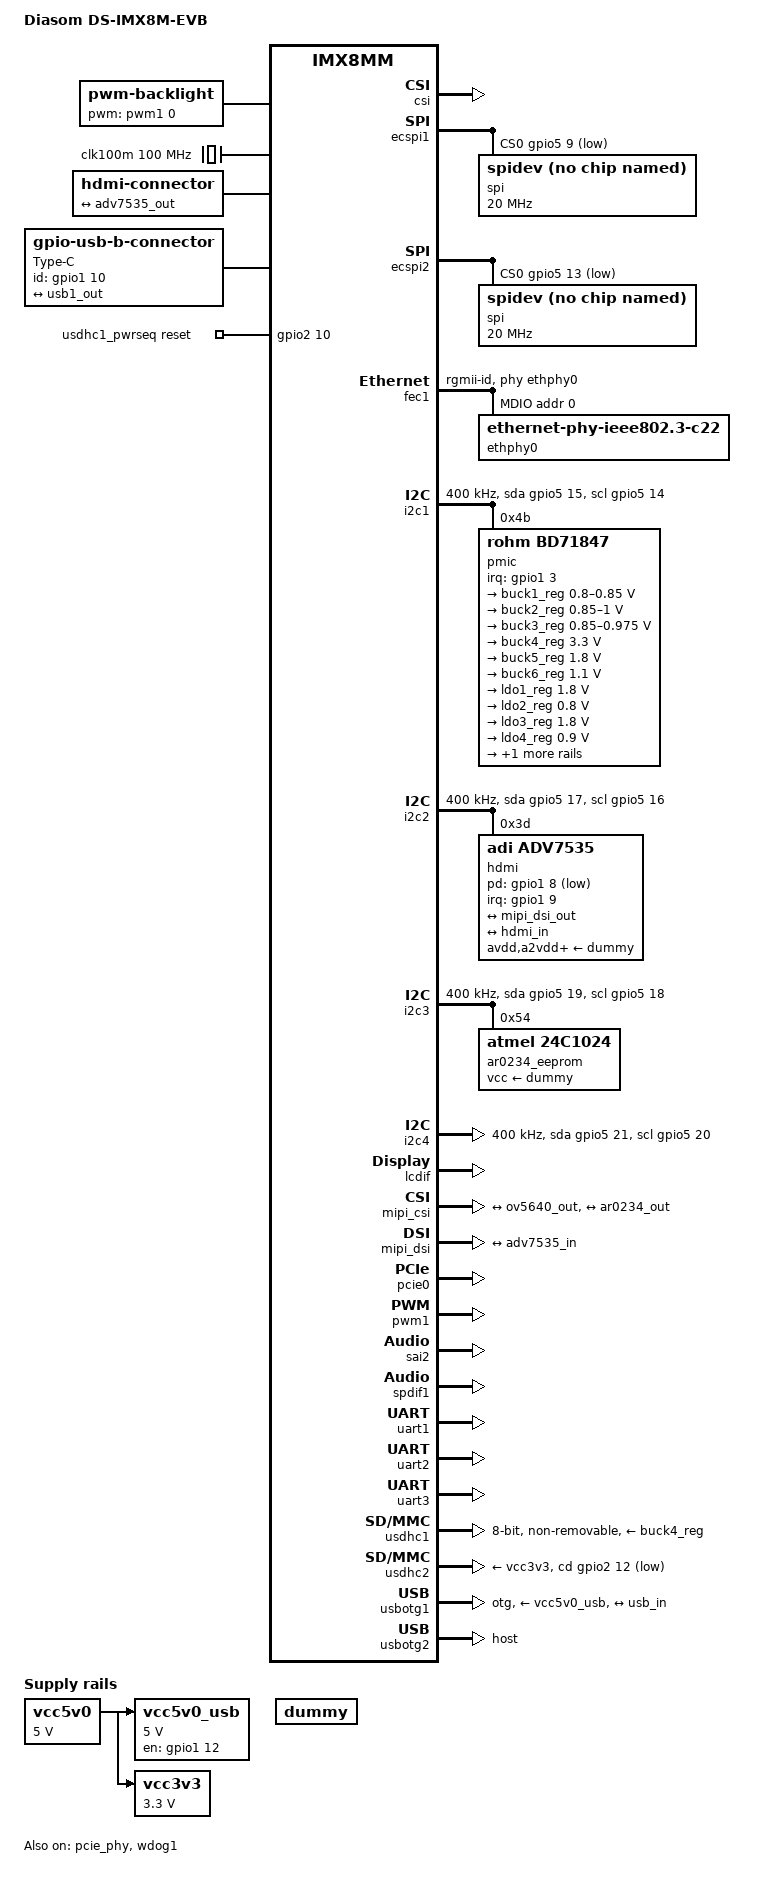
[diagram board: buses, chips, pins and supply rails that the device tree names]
/* SPDX-License-Identifier: GPL-2.0+ */
/* SPDX-FileCopyrightText: Alexander Shiyan <shc_work@mail.ru> */

/dts-v1/;

#include <arm64/freescale/imx8mm.dtsi>
#include <dt-bindings/net/ti-dp83867.h>
#include <dt-bindings/phy/phy-imx8-pcie.h>

#include "imx8mm.dtsi"

/ {
	model = "Diasom DS-IMX8M-EVB";
	compatible = "diasom,ds-imx8m-evb", "fsl,imx8mm";
	chassis-type = "embedded";

	chosen {
		stdout-path = "serial1:115200n8";

		environment-emmc {
			compatible = "barebox,environment";
			device-path = &usdhc1, "partname:env";
			status = "disabled";
		};

		environment-sd {
			compatible = "barebox,environment";
			device-path = &usdhc2, "partname:env";
			status = "disabled";
		};
	};

	aliases {
		camera0 = &ov5640;
		camera1 = &ar0234;
	};

	backlight {
		compatible = "pwm-backlight";
		pwms = <&pwm1 0 5000000 0>;
		brightness-levels = <0 255>;
		num-interpolated-steps = <255>;
		default-brightness-level = <250>;
	};

	clk100m: clk-100m {
		compatible = "fixed-clock";
		clock-frequency = <100000000>;
		#clock-cells = <0>;
	};

	hdmi-connector {
		compatible = "hdmi-connector";
		label = "HDMI";
		type = "a";

		port {
			hdmi_in: endpoint {
				remote-endpoint = <&adv7535_out>;
			};
		};
	};

	usb-connector {
		pinctrl-names = "default";
		pinctrl-0 = <&pinctrl_usbconn>;
		compatible = "gpio-usb-b-connector", "usb-b-connector";
		label = "Type-C";
		type = "micro";
		id-gpios = <&gpio1 10 GPIO_ACTIVE_HIGH>;

		ports {
			#address-cells = <1>;
			#size-cells = <0>;

			port@0 {
				reg = <0>;

				usb_in: endpoint {
					remote-endpoint = <&usb1_out>;
				};
			};
		};
	};

	spdif_sound: spdif-sound {
		compatible = "fsl,imx-audio-spdif";
		model = "SPDIF";
		spdif-controller = <&spdif1>;
		spdif-in;
		spdif-out;
	};

	usdhc1_pwrseq: usdhc1-pwrseq {
		pinctrl-names = "default";
		pinctrl-0 = <&pinctrl_usdhc1_pwrseq>;
		compatible = "mmc-pwrseq-emmc";
		reset-gpios = <&gpio2 10 GPIO_ACTIVE_HIGH>;
	};

	vcc5v0: vcc5v0-regulator {
		compatible = "regulator-fixed";
		regulator-name = "5v0";
		regulator-min-microvolt = <5000000>;
		regulator-max-microvolt = <5000000>;
	};

	vcc5v0_usb: vcc5v0-usb-regulator {
		pinctrl-names = "default";
		pinctrl-0 = <&pinctrl_reg_usb>;
		compatible = "regulator-fixed";
		regulator-name = "5v0_usb";
		regulator-min-microvolt = <5000000>;
		regulator-max-microvolt = <5000000>;
		gpio = <&gpio1 12 GPIO_ACTIVE_HIGH>;
		enable-active-high;
		vin-supply = <&vcc5v0>;
	};

	vcc3v3: vcc3v3-regulator {
		compatible = "regulator-fixed";
		regulator-name = "3v3";
		regulator-min-microvolt = <3300000>;
		regulator-max-microvolt = <3300000>;
		vin-supply = <&vcc5v0>;
	};

	dummy: dummy-regulator {
		compatible = "regulator-fixed";
		regulator-name = "dummy";
	};
};

&A53_0 {
	cpu-supply = <&buck2_reg>;
};

&A53_1 {
	cpu-supply = <&buck2_reg>;
};

&A53_2 {
	cpu-supply = <&buck2_reg>;
};

&A53_3 {
	cpu-supply = <&buck2_reg>;
};

&csi {
	status = "okay";
};

&ddrc {
	operating-points-v2 = <&ddrc_opp_table>;

	ddrc_opp_table: opp-table {
		compatible = "operating-points-v2";

		opp-750000000 {
			opp-hz = /bits/ 64 <750000000>;
		};
	};
};

&ecspi1 {
	pinctrl-names = "default";
	pinctrl-0 = <&pinctrl_ecspi1>;
	cs-gpios = <&gpio5 9 GPIO_ACTIVE_LOW>;
	status = "okay";

	spi@0 {
		compatible = "rohm,dh2228fv";
		reg = <0>;
		spi-max-frequency = <20000000>;
	};
};

&ecspi2 {
	pinctrl-names = "default";
	pinctrl-0 = <&pinctrl_ecspi2>;
	cs-gpios = <&gpio5 13 GPIO_ACTIVE_LOW>;
	status = "okay";

	spi@0 {
		compatible = "rohm,dh2228fv";
		reg = <0>;
		spi-max-frequency = <20000000>;
	};
};

&fec1 {
	pinctrl-names = "default";
	pinctrl-0 = <&pinctrl_fec1>;
	phy-mode = "rgmii-id";
	phy-handle = <&ethphy0>;
	fsl,magic-packet;
	status = "okay";

	mdio {
		#address-cells = <1>;
		#size-cells = <0>;

		ethphy0: phy@0 {
			compatible = "ethernet-phy-ieee802.3-c22";
			reg = <0>;
			ti,rx-internal-delay = <DP83867_RGMIIDCTL_2_00_NS>;
			ti,tx-internal-delay = <DP83867_RGMIIDCTL_2_00_NS>;
		};
	};
};

&i2c1 {
	pinctrl-names = "default", "gpio";
	pinctrl-0 = <&pinctrl_i2c1>;
	pinctrl-1 = <&pinctrl_i2c1_gpio>;
	scl-gpios = <&gpio5 14 (GPIO_ACTIVE_HIGH | GPIO_OPEN_DRAIN)>;
	sda-gpios = <&gpio5 15 (GPIO_ACTIVE_HIGH | GPIO_OPEN_DRAIN)>;
	clock-frequency = <400000>;
	status = "okay";

	pmic@4b {
		pinctrl-names = "default";
		pinctrl-0 = <&pinctrl_pmic>;
		compatible = "rohm,bd71847";
		reg = <0x4b>;
		interrupt-parent = <&gpio1>;
		interrupts = <3 IRQ_TYPE_LEVEL_LOW>;
		rohm,reset-snvs-powered;

		regulators {
			/* 0.8V_VDD_SOC */
			buck1_reg: BUCK1 {
				regulator-name = "buck1";
				regulator-min-microvolt = <800000>;
				regulator-max-microvolt = <850000>;
				regulator-boot-on;
				regulator-always-on;
				regulator-ramp-delay = <1250>;
			};

			/* 0.9V_VDD_ARM */
			buck2_reg: BUCK2 {
				regulator-name = "buck2";
				regulator-min-microvolt = <850000>;
				regulator-max-microvolt = <1000000>;
				regulator-boot-on;
				regulator-always-on;
				regulator-ramp-delay = <1250>;
				rohm,dvs-run-voltage = <1000000>;
				rohm,dvs-idle-voltage = <900000>;
			};

			/* 0.9V_VPU_GPU */
			buck3_reg: BUCK3 {
				// BUCK5 in datasheet
				regulator-name = "buck3";
				regulator-min-microvolt = <850000>;
				regulator-max-microvolt = <975000>;
				regulator-boot-on;
				regulator-always-on;
			};

			/* 3.3V */
			buck4_reg: BUCK4 {
				// BUCK6 in datasheet
				regulator-name = "buck4";
				regulator-min-microvolt = <3300000>;
				regulator-max-microvolt = <3300000>;
				regulator-boot-on;
				regulator-always-on;
			};

			/* 1.8V */
			buck5_reg: BUCK5 {
				// BUCK7 in datasheet
				regulator-name = "buck5";
				regulator-min-microvolt = <1800000>;
				regulator-max-microvolt = <1800000>;
				regulator-boot-on;
				regulator-always-on;
			};

			/* 1.1V_LPDDR4 */
			buck6_reg: BUCK6 {
				// BUCK8 in datasheet
				regulator-name = "buck6";
				regulator-min-microvolt = <1100000>;
				regulator-max-microvolt = <1100000>;
				regulator-boot-on;
				regulator-always-on;
			};

			/* 1.8V_NVCC_SNVC */
			ldo1_reg: LDO1 {
				regulator-name = "ldo1";
				regulator-min-microvolt = <1800000>;
				regulator-max-microvolt = <1800000>;
				regulator-boot-on;
				regulator-always-on;
			};

			/* 0.8V_VDD_SNVC */
			ldo2_reg: LDO2 {
				regulator-name = "ldo2";
				regulator-min-microvolt = <800000>;
				regulator-max-microvolt = <800000>;
				regulator-boot-on;
				regulator-always-on;
			};

			/* 1.8V_VDDA */
			ldo3_reg: LDO3 {
				regulator-name = "ldo3";
				regulator-min-microvolt = <1800000>;
				regulator-max-microvolt = <1800000>;
				regulator-boot-on;
				regulator-always-on;
			};

			/* 0.9V_VDD_PHY */
			ldo4_reg: LDO4 {
				regulator-name = "ldo4";
				regulator-min-microvolt = <900000>;
				regulator-max-microvolt = <900000>;
				regulator-boot-on;
				regulator-always-on;
			};

			/* 1.2V_VDD_PHY */
			ldo6_reg: LDO6 {
				regulator-name = "ldo6";
				regulator-min-microvolt = <1200000>;
				regulator-max-microvolt = <1200000>;
				regulator-boot-on;
				regulator-always-on;
			};
		};
	};
};

&i2c2 {
	pinctrl-names = "default", "gpio";
	pinctrl-0 = <&pinctrl_i2c2>;
	pinctrl-1 = <&pinctrl_i2c2_gpio>;
	scl-gpios = <&gpio5 16 (GPIO_ACTIVE_HIGH | GPIO_OPEN_DRAIN)>;
	sda-gpios = <&gpio5 17 (GPIO_ACTIVE_HIGH | GPIO_OPEN_DRAIN)>;
	clock-frequency = <400000>;
	status = "okay";

	hdmi@3d {
		pinctrl-names = "default";
		pinctrl-0 = <&pinctrl_adv7535>;
		compatible = "adi,adv7535";
		reg = <0x3d>, <0x3e>, <0x3c>, <0x3f>;
		reg-names = "main", "edid", "cec", "packet";
		adi,dsi-lanes = <4>;
		adi,input-depth = <8>;
		adi,input-colorspace = "rgb";
		adi,input-clock = "1x";
		adi,input-style = <1>;
		adi,input-justification = "evenly";
		interrupt-parent = <&gpio1>;
		interrupts = <9 IRQ_TYPE_LEVEL_LOW>;
		pd-gpios = <&gpio1 8 GPIO_ACTIVE_LOW>;
		avdd-supply = <&dummy>;
		a2vdd-supply = <&dummy>;
		dvdd-supply = <&dummy>;
		pvdd-supply = <&dummy>;
		v1p2-supply = <&dummy>;
		v3p3-supply = <&dummy>;

		ports {
			#address-cells = <1>;
			#size-cells = <0>;

			port@0 {
				reg = <0>;

				adv7535_in: endpoint {
					remote-endpoint = <&mipi_dsi_out>;
				};
			};

			port@1 {
				reg = <1>;

				adv7535_out: endpoint {
					remote-endpoint = <&hdmi_in>;
				};
			};
		};
	};
};

&i2c3 {
	pinctrl-names = "default", "gpio";
	pinctrl-0 = <&pinctrl_i2c3>;
	pinctrl-1 = <&pinctrl_i2c3_gpio>;
	scl-gpios = <&gpio5 18 (GPIO_ACTIVE_HIGH | GPIO_OPEN_DRAIN)>;
	sda-gpios = <&gpio5 19 (GPIO_ACTIVE_HIGH | GPIO_OPEN_DRAIN)>;
	clock-frequency = <400000>;
	status = "okay";

	ov5640: camera@3c {
		pinctrl-names = "default";
		pinctrl-0 = <&pinctrl_ov5640>;
		compatible = "ovti,ov5640";
		reg = <0x3c>;
		clocks = <&clk IMX8MM_CLK_CLKO1>;
		clock-names = "xclk";
		assigned-clocks = <&clk IMX8MM_CLK_CLKO1>;
		assigned-clock-parents = <&clk IMX8MM_CLK_24M>;
		assigned-clock-rates = <24000000>;
		powerdown-gpios = <&gpio1 7 GPIO_ACTIVE_HIGH>;
		reset-gpios = <&gpio1 6 GPIO_ACTIVE_LOW>;
		AVDD-supply = <&dummy>;
		DVDD-supply = <&dummy>;
		DOVDD-supply = <&dummy>;
		status = "disabled";

		port {
			ov5640_out: endpoint {
				remote-endpoint = <&ov5640_in>;
				data-lanes = <1 2>;
			};
		};
	};

	/*
	   GPIO1_IO14 is connected to pin 33 of the 70-pin camera connector.
	   This pin is not documented in the TEVI-AR0234 datasheet,
	   and seems floated unused.
	*/
	ar0234: camera@3d {
		pinctrl-names = "default";
		pinctrl-0 = <&pinctrl_ar0234>;
		compatible = "onnn,ap1302";
		reg = <0x3d>;
		reset-gpios = <&gpio1 6 GPIO_ACTIVE_LOW>;
		standby-gpios = <&gpio1 7 GPIO_ACTIVE_HIGH>;
		nvmem = <&ar0234_eeprom>;
		vcc-supply = <&dummy>;
		status = "disabled";

		port {
			ar0234_out: endpoint {
				remote-endpoint = <&ar0234_in>;
				data-lanes = <1 2 3 4>;
				link-frequencies = /bits/ 64 <816000000>;
			};
		};

		sensors {
			sensor,model = "ar0234";
			sensor,resolution = <1920 1080>;
			sensor,format = <0x200f>; /* MEDIA_BUS_FMT_UYVY8_1X16 */

			#address-cells = <1>;
			#size-cells = <0>;

			sensor@0 {
				reg = <0>;
				sip = <0>;
				status = "immutable";
			};
		};
	};

	ar0234_eeprom: eeprom@54 {
		compatible = "atmel,24c1024";
		reg = <0x54>;
		read-only;
		vcc-supply = <&dummy>;
	};
};

&i2c4 {
	pinctrl-names = "default", "gpio";
	pinctrl-0 = <&pinctrl_i2c4>;
	pinctrl-1 = <&pinctrl_i2c4_gpio>;
	scl-gpios = <&gpio5 20 (GPIO_ACTIVE_HIGH | GPIO_OPEN_DRAIN)>;
	sda-gpios = <&gpio5 21 (GPIO_ACTIVE_HIGH | GPIO_OPEN_DRAIN)>;
	clock-frequency = <400000>;
	status = "okay";
};

&lcdif {
	status = "okay";
};

&mipi_csi {
	status = "okay";

	ports {
		port@0 {
			#address-cells = <1>;
			#size-cells = <0>;

			ov5640_in: endpoint@0 {
				reg = <0>;
				remote-endpoint = <&ov5640_out>;
				data-lanes = <1 2>;
			};

			ar0234_in: endpoint@1 {
				reg = <1>;
				remote-endpoint = <&ar0234_out>;
				data-lanes = <1 2 3 4>;
			};
		};
	};
};

&mipi_dsi {
	samsung,esc-clock-frequency = <10000000>;
	vddcore-supply = <&dummy>;
	vddio-supply = <&dummy>;
	status = "okay";

	ports {
		port@1 {
			reg = <1>;

			mipi_dsi_out: endpoint {
				remote-endpoint = <&adv7535_in>;
				data-lanes = <1 2 3 4>;
			};
		};
	};
};

&ocotp {
	barebox,provide-mac-address = <&fec1 0x640>;
};

&pcie_phy {
	fsl,clkreq-unsupported;
	fsl,refclk-pad-mode = <IMX8_PCIE_REFCLK_PAD_INPUT>;
	fsl,tx-deemph-gen1 = <0x2d>;
	fsl,tx-deemph-gen2 = <0xf>;
	clocks = <&clk100m>;
	status = "okay";
};

&pcie0 {
	clocks = <&clk IMX8MM_CLK_PCIE1_ROOT>, <&clk100m>,
		 <&clk IMX8MM_CLK_PCIE1_AUX>;
	assigned-clocks = <&clk IMX8MM_CLK_PCIE1_AUX>,
			  <&clk IMX8MM_CLK_PCIE1_CTRL>;
	assigned-clock-rates = <10000000>, <250000000>;
	assigned-clock-parents = <&clk IMX8MM_SYS_PLL2_50M>,
				 <&clk IMX8MM_SYS_PLL2_250M>;
	vpcie-supply = <&vcc3v3>;
	status = "okay";
};

&pwm1 {
	pinctrl-names = "default";
	pinctrl-0 = <&pinctrl_pwm>;
	status = "okay";
};

&sai2 {
	pinctrl-names = "default";
	pinctrl-0 = <&pinctrl_sai2>;
	assigned-clocks = <&clk IMX8MM_CLK_SAI2>;
	assigned-clock-parents = <&clk IMX8MM_AUDIO_PLL1_OUT>;
	assigned-clock-rates = <12000000>;
	status = "okay";

	#sound-dai-cells = <0>;
};

&spdif1 {
	pinctrl-names = "default";
	pinctrl-0 = <&pinctrl_spdif1>;
	status = "okay";
};

&uart1 {
	pinctrl-names = "default";
	pinctrl-0 = <&pinctrl_uart1>;
	status = "okay";
};

&uart2 {
	pinctrl-names = "default";
	pinctrl-0 = <&pinctrl_uart2>;
	status = "okay";
	wakeup-source;
};

&uart3 {
	pinctrl-names = "default";
	pinctrl-0 = <&pinctrl_uart3>;
	status = "okay";
};

&uart4 {
	/* UART4 is routed to M4 via TF-A */
	pinctrl-names = "default";
	pinctrl-0 = <&pinctrl_uart4>;
	status = "reserved";
};

/* eMMC */
&usdhc1 {
	pinctrl-names = "default", "state_100mhz", "state_200mhz";
	pinctrl-0 = <&pinctrl_usdhc1>;
	pinctrl-1 = <&pinctrl_usdhc1_100mhz>;
	pinctrl-2 = <&pinctrl_usdhc1_200mhz>;
	bus-width = <8>;
	disable-wp;
	keep-power-in-suspend;
	mmc-pwrseq = <&usdhc1_pwrseq>;
	non-removable;
	vmmc-supply = <&buck4_reg>;
	vqmmc-supply = <&buck5_reg>;
	status = "okay";
};

/* uSD */
&usdhc2 {
	pinctrl-names = "default", "state_100mhz", "state_200mhz";
	pinctrl-0 = <&pinctrl_usdhc2>;
	pinctrl-1 = <&pinctrl_usdhc2_100mhz>;
	pinctrl-2 = <&pinctrl_usdhc2_200mhz>;
	assigned-clocks = <&clk IMX8MM_CLK_USDHC2>;
	assigned-clock-rates = <400000000>;
	assigned-clock-parents = <&clk IMX8MM_SYS_PLL1_400M>;
	cd-gpios = <&gpio2 12 GPIO_ACTIVE_LOW>;
	disable-wp;
	no-1-8-v;
	no-mmc;
	no-sdio;
	sd-uhs-ddr50;
	sd-uhs-sdr12;
	sd-uhs-sdr25;
	sd-uhs-sdr50;
	sd-uhs-sdr104;
	vmmc-supply = <&vcc3v3>;
	status = "okay";
};

&usbphynop1 {
	wakeup-source;
};

/* USB1-OTG */
&usbotg1 {
	dr_mode = "otg";
	disable-over-current;
	hnp-disable;
	srp-disable;
	samsung,picophy-pre-emp-curr-control = <3>;
	samsung,picophy-dc-vol-level-adjust = <7>;
	usb-role-switch;
	vbus-supply = <&vcc5v0_usb>;
	status = "okay";

	port {
		usb1_out: endpoint {
			remote-endpoint = <&usb_in>;
		};
	};
};

/* USB2-Host */
&usbotg2 {
	dr_mode = "host";
	disable-over-current;
	samsung,picophy-pre-emp-curr-control = <3>;
	samsung,picophy-dc-vol-level-adjust = <7>;
	status = "okay";
};

&wdog1 {
	pinctrl-names = "default";
	pinctrl-0 = <&pinctrl_wdog>;
	fsl,ext-reset-output;
	status = "okay";
};

&iomuxc {
	pinctrl-names = "default";
	pinctrl-0 = <&pinctrl_esp32 &pinctrl_gpios>;

	pinctrl_adv7535: adv7535-grp {
		fsl,pins = <
			MX8MM_IOMUXC_GPIO1_IO08_GPIO1_IO8		0x19
			MX8MM_IOMUXC_GPIO1_IO09_GPIO1_IO9		0x141
		>;
	};

	pinctrl_ar0234: ar0234-grp {
		fsl,pins = <
			MX8MM_IOMUXC_GPIO1_IO06_GPIO1_IO6		0x19
			MX8MM_IOMUXC_GPIO1_IO07_GPIO1_IO7		0x19
			MX8MM_IOMUXC_GPIO1_IO14_GPIO1_IO14		0x19
		>;
	};

	pinctrl_ecspi1: ecspi1-grp {
		fsl,pins = <
			MX8MM_IOMUXC_ECSPI1_SCLK_ECSPI1_SCLK		0x44
			MX8MM_IOMUXC_ECSPI1_MOSI_ECSPI1_MOSI		0x44
			MX8MM_IOMUXC_ECSPI1_MISO_ECSPI1_MISO		0x44
			MX8MM_IOMUXC_ECSPI1_SS0_GPIO5_IO9		0x40
		>;
	};

	pinctrl_ecspi2: ecspi2-grp {
		fsl,pins = <
			MX8MM_IOMUXC_ECSPI2_SCLK_ECSPI2_SCLK		0x44
			MX8MM_IOMUXC_ECSPI2_MOSI_ECSPI2_MOSI		0x44
			MX8MM_IOMUXC_ECSPI2_MISO_ECSPI2_MISO		0x44
			MX8MM_IOMUXC_ECSPI2_SS0_GPIO5_IO13		0x40
		>;
	};

	pinctrl_esp32: esp32-grp {
		fsl,pins = <
			MX8MM_IOMUXC_SAI3_RXFS_GPIO4_IO28		0x19	/* WIFI_STRAP_BOOT */
			MX8MM_IOMUXC_SAI3_TXFS_GPIO4_IO31		0x19	/* WIFI_POWER_UP */
		>;
	};

	pinctrl_fec1: fec1-grp {
		fsl,pins = <
			MX8MM_IOMUXC_ENET_MDC_ENET1_MDC			0x3
			MX8MM_IOMUXC_ENET_MDIO_ENET1_MDIO		0x3
			MX8MM_IOMUXC_ENET_TD3_ENET1_RGMII_TD3		0x1f
			MX8MM_IOMUXC_ENET_TD2_ENET1_RGMII_TD2		0x1f
			MX8MM_IOMUXC_ENET_TD1_ENET1_RGMII_TD1		0x1f
			MX8MM_IOMUXC_ENET_TD0_ENET1_RGMII_TD0		0x1f
			MX8MM_IOMUXC_ENET_RD3_ENET1_RGMII_RD3		0x91
			MX8MM_IOMUXC_ENET_RD2_ENET1_RGMII_RD2		0x91
			MX8MM_IOMUXC_ENET_RD1_ENET1_RGMII_RD1		0x91
			MX8MM_IOMUXC_ENET_RD0_ENET1_RGMII_RD0		0x91
			MX8MM_IOMUXC_ENET_TXC_ENET1_RGMII_TXC		0x1f
			MX8MM_IOMUXC_ENET_RXC_ENET1_RGMII_RXC		0x91
			MX8MM_IOMUXC_ENET_RX_CTL_ENET1_RGMII_RX_CTL	0x91
			MX8MM_IOMUXC_ENET_TX_CTL_ENET1_RGMII_TX_CTL	0x1f
		>;
	};

	pinctrl_gpios: gpios-grp {
		fsl,pins = <
			MX8MM_IOMUXC_GPIO1_IO00_GPIO1_IO0		0x19	/* X14.3 */
			MX8MM_IOMUXC_GPIO1_IO04_GPIO1_IO4		0x19	/* X14.6 */
			MX8MM_IOMUXC_GPIO1_IO05_GPIO1_IO5		0x19	/* X14.7 */
			MX8MM_IOMUXC_GPIO1_IO11_GPIO1_IO11		0x19	/* X14.13 */
			MX8MM_IOMUXC_GPIO1_IO13_GPIO1_IO13		0x19	/* X14.15 */
		>;
	};

	pinctrl_i2c1: i2c1-grp {
		fsl,pins = <
			MX8MM_IOMUXC_I2C1_SCL_I2C1_SCL			0x40000083
			MX8MM_IOMUXC_I2C1_SDA_I2C1_SDA			0x40000083
		>;
	};

	pinctrl_i2c1_gpio: i2c1-gpio-grp {
		fsl,pins = <
			MX8MM_IOMUXC_I2C1_SCL_GPIO5_IO14		0x40000083
			MX8MM_IOMUXC_I2C1_SDA_GPIO5_IO15		0x40000083
		>;
	};

	pinctrl_i2c2: i2c2-grp {
		fsl,pins = <
			MX8MM_IOMUXC_I2C2_SCL_I2C2_SCL			0x40000083
			MX8MM_IOMUXC_I2C2_SDA_I2C2_SDA			0x40000083
		>;
	};

	pinctrl_i2c2_gpio: i2c2-gpio-grp {
		fsl,pins = <
			MX8MM_IOMUXC_I2C2_SCL_GPIO5_IO16		0x40000083
			MX8MM_IOMUXC_I2C2_SDA_GPIO5_IO17		0x40000083
		>;
	};

	pinctrl_i2c3: i2c3-grp {
		fsl,pins = <
			MX8MM_IOMUXC_I2C3_SCL_I2C3_SCL			0x40000083
			MX8MM_IOMUXC_I2C3_SDA_I2C3_SDA			0x40000083
		>;
	};

	pinctrl_i2c3_gpio: i2c3-gpio-grp {
		fsl,pins = <
			MX8MM_IOMUXC_I2C3_SCL_GPIO5_IO18		0x40000083
			MX8MM_IOMUXC_I2C3_SDA_GPIO5_IO19		0x40000083
		>;
	};

	pinctrl_i2c4: i2c4-grp {
		fsl,pins = <
			MX8MM_IOMUXC_I2C4_SCL_I2C4_SCL			0x40000083
			MX8MM_IOMUXC_I2C4_SDA_I2C4_SDA			0x40000083
		>;
	};

	pinctrl_i2c4_gpio: i2c4-gpio-grp {
		fsl,pins = <
			MX8MM_IOMUXC_I2C4_SCL_GPIO5_IO20		0x40000083
			MX8MM_IOMUXC_I2C4_SDA_GPIO5_IO21		0x40000083
		>;
	};

	pinctrl_ov5640: ov5640-grp {
		fsl,pins = <
			MX8MM_IOMUXC_GPIO1_IO06_GPIO1_IO6		0x19
			MX8MM_IOMUXC_GPIO1_IO07_GPIO1_IO7		0x19
			MX8MM_IOMUXC_GPIO1_IO14_CCMSRCGPCMIX_CLKO1	0x59
		>;
	};

	pinctrl_pmic: pmic-grp {
		fsl,pins = <
			MX8MM_IOMUXC_GPIO1_IO03_GPIO1_IO3		0x141
		>;
	};

	pinctrl_pwm: pwm-grp {
		fsl,pins = <
			MX8MM_IOMUXC_GPIO1_IO01_PWM1_OUT		0x06
		>;
	};

	pinctrl_reg_usb: reg-usb-grp {
		fsl,pins = <
			MX8MM_IOMUXC_GPIO1_IO12_GPIO1_IO12		0x184
		>;
	};

	pinctrl_sai2: sai2-grp {
		fsl,pins = <
			MX8MM_IOMUXC_SAI2_MCLK_SAI2_MCLK		0xd6
			MX8MM_IOMUXC_SAI2_RXC_SAI2_RX_BCLK		0xd6
			MX8MM_IOMUXC_SAI2_RXD0_SAI2_RX_DATA0		0xd6
			MX8MM_IOMUXC_SAI2_RXFS_SAI2_RX_SYNC		0xd6
			MX8MM_IOMUXC_SAI2_TXC_SAI2_TX_BCLK		0xd6
			MX8MM_IOMUXC_SAI2_TXD0_SAI2_TX_DATA0		0xd6
			MX8MM_IOMUXC_SAI2_TXFS_SAI2_TX_SYNC		0xd6
		>;
	};

	pinctrl_spdif1: spdif1-grp {
		fsl,pins = <
			MX8MM_IOMUXC_SPDIF_TX_SPDIF1_OUT		0xd6
			MX8MM_IOMUXC_SPDIF_RX_SPDIF1_IN			0xd6
			MX8MM_IOMUXC_SPDIF_EXT_CLK_SPDIF1_EXT_CLK	0xd6
		>;
	};

	pinctrl_uart1: uart1-grp {
		fsl,pins = <
			MX8MM_IOMUXC_UART1_RXD_UART1_DCE_RX		0x0
			MX8MM_IOMUXC_UART1_TXD_UART1_DCE_TX		0x0
		>;
	};

	pinctrl_uart2: uart2-grp {
		fsl,pins = <
			MX8MM_IOMUXC_UART2_RXD_UART2_DCE_RX		0x0
			MX8MM_IOMUXC_UART2_TXD_UART2_DCE_TX		0x0
		>;
	};

	pinctrl_uart3: uart3-grp {
		fsl,pins = <
			MX8MM_IOMUXC_UART3_RXD_UART3_DCE_RX		0x0
			MX8MM_IOMUXC_UART3_TXD_UART3_DCE_TX		0x0
		>;
	};

	pinctrl_uart4: uart4-grp {
		fsl,pins = <
			MX8MM_IOMUXC_UART4_RXD_UART4_DCE_RX		0x0
			MX8MM_IOMUXC_UART4_TXD_UART4_DCE_TX		0x0
		>;
	};

	pinctrl_usbconn: usbconn-grp {
		fsl,pins = <
			MX8MM_IOMUXC_GPIO1_IO10_USB1_OTG_ID		0x400001c0
		>;
	};

	pinctrl_usdhc1: usdhc1-grp {
		fsl,pins = <
			MX8MM_IOMUXC_SD1_CLK_USDHC1_CLK			0x90
			MX8MM_IOMUXC_SD1_CMD_USDHC1_CMD			0x1d0
			MX8MM_IOMUXC_SD1_DATA0_USDHC1_DATA0		0x1d0
			MX8MM_IOMUXC_SD1_DATA1_USDHC1_DATA1		0x1d0
			MX8MM_IOMUXC_SD1_DATA2_USDHC1_DATA2		0x1d0
			MX8MM_IOMUXC_SD1_DATA3_USDHC1_DATA3		0x1d0
			MX8MM_IOMUXC_SD1_DATA4_USDHC1_DATA4		0x1d0
			MX8MM_IOMUXC_SD1_DATA5_USDHC1_DATA5		0x1d0
			MX8MM_IOMUXC_SD1_DATA6_USDHC1_DATA6		0x1d0
			MX8MM_IOMUXC_SD1_DATA7_USDHC1_DATA7		0x1d0
			MX8MM_IOMUXC_SD1_STROBE_USDHC1_STROBE		0x190
		>;
	};

	pinctrl_usdhc1_100mhz: usdhc1-100-grp {
		fsl,pins = <
			MX8MM_IOMUXC_SD1_CLK_USDHC1_CLK			0x94
			MX8MM_IOMUXC_SD1_CMD_USDHC1_CMD			0x1d4
			MX8MM_IOMUXC_SD1_DATA0_USDHC1_DATA0		0x1d4
			MX8MM_IOMUXC_SD1_DATA1_USDHC1_DATA1		0x1d4
			MX8MM_IOMUXC_SD1_DATA2_USDHC1_DATA2		0x1d4
			MX8MM_IOMUXC_SD1_DATA3_USDHC1_DATA3		0x1d4
			MX8MM_IOMUXC_SD1_DATA4_USDHC1_DATA4		0x1d4
			MX8MM_IOMUXC_SD1_DATA5_USDHC1_DATA5		0x1d4
			MX8MM_IOMUXC_SD1_DATA6_USDHC1_DATA6		0x1d4
			MX8MM_IOMUXC_SD1_DATA7_USDHC1_DATA7		0x1d4
			MX8MM_IOMUXC_SD1_STROBE_USDHC1_STROBE		0x194
		>;
	};

	pinctrl_usdhc1_200mhz: usdhc1-200-grp {
		fsl,pins = <
			MX8MM_IOMUXC_SD1_CLK_USDHC1_CLK			0x196
			MX8MM_IOMUXC_SD1_CMD_USDHC1_CMD			0x1d6
			MX8MM_IOMUXC_SD1_DATA0_USDHC1_DATA0		0x1d6
			MX8MM_IOMUXC_SD1_DATA1_USDHC1_DATA1		0x1d6
			MX8MM_IOMUXC_SD1_DATA2_USDHC1_DATA2		0x1d6
			MX8MM_IOMUXC_SD1_DATA3_USDHC1_DATA3		0x1d6
			MX8MM_IOMUXC_SD1_DATA4_USDHC1_DATA4		0x1d6
			MX8MM_IOMUXC_SD1_DATA5_USDHC1_DATA5		0x1d6
			MX8MM_IOMUXC_SD1_DATA6_USDHC1_DATA6		0x1d6
			MX8MM_IOMUXC_SD1_DATA7_USDHC1_DATA7		0x1d6
			MX8MM_IOMUXC_SD1_STROBE_USDHC1_STROBE		0x196
		>;
	};

	pinctrl_usdhc1_pwrseq: usdhc1-pwrseq-grp {
		fsl,pins = <
			MX8MM_IOMUXC_SD1_RESET_B_GPIO2_IO10		0x41
		>;
	};

	pinctrl_usdhc2: usdhc2-grp {
		fsl,pins = <
			MX8MM_IOMUXC_SD2_CLK_USDHC2_CLK			0x190
			MX8MM_IOMUXC_SD2_CMD_USDHC2_CMD			0x1d0
			MX8MM_IOMUXC_SD2_DATA0_USDHC2_DATA0		0x1d0
			MX8MM_IOMUXC_SD2_DATA1_USDHC2_DATA1		0x1d0
			MX8MM_IOMUXC_SD2_DATA2_USDHC2_DATA2		0x1d0
			MX8MM_IOMUXC_SD2_DATA3_USDHC2_DATA3		0x1d0
			MX8MM_IOMUXC_SD2_CD_B_GPIO2_IO12		0x1c4
		>;
	};

	pinctrl_usdhc2_100mhz: usdhc2-100-grp {
		fsl,pins = <
			MX8MM_IOMUXC_SD2_CLK_USDHC2_CLK			0x194
			MX8MM_IOMUXC_SD2_CMD_USDHC2_CMD			0x1d4
			MX8MM_IOMUXC_SD2_DATA0_USDHC2_DATA0		0x1d4
			MX8MM_IOMUXC_SD2_DATA1_USDHC2_DATA1		0x1d4
			MX8MM_IOMUXC_SD2_DATA2_USDHC2_DATA2		0x1d4
			MX8MM_IOMUXC_SD2_DATA3_USDHC2_DATA3		0x1d4
			MX8MM_IOMUXC_SD2_CD_B_GPIO2_IO12		0x1c4
		>;
	};

	pinctrl_usdhc2_200mhz: usdhc2-200-grp {
		fsl,pins = <
			MX8MM_IOMUXC_SD2_CLK_USDHC2_CLK			0x196
			MX8MM_IOMUXC_SD2_CMD_USDHC2_CMD			0x1d6
			MX8MM_IOMUXC_SD2_DATA0_USDHC2_DATA0		0x1d6
			MX8MM_IOMUXC_SD2_DATA1_USDHC2_DATA1		0x1d6
			MX8MM_IOMUXC_SD2_DATA2_USDHC2_DATA2		0x1d6
			MX8MM_IOMUXC_SD2_DATA3_USDHC2_DATA3		0x1d6
			MX8MM_IOMUXC_SD2_CD_B_GPIO2_IO12		0x1c4
		>;
	};

	pinctrl_wdog: wdog-grp {
		fsl,pins = <
			MX8MM_IOMUXC_GPIO1_IO02_WDOG1_WDOG_B		0x166
		>;
	};
};
